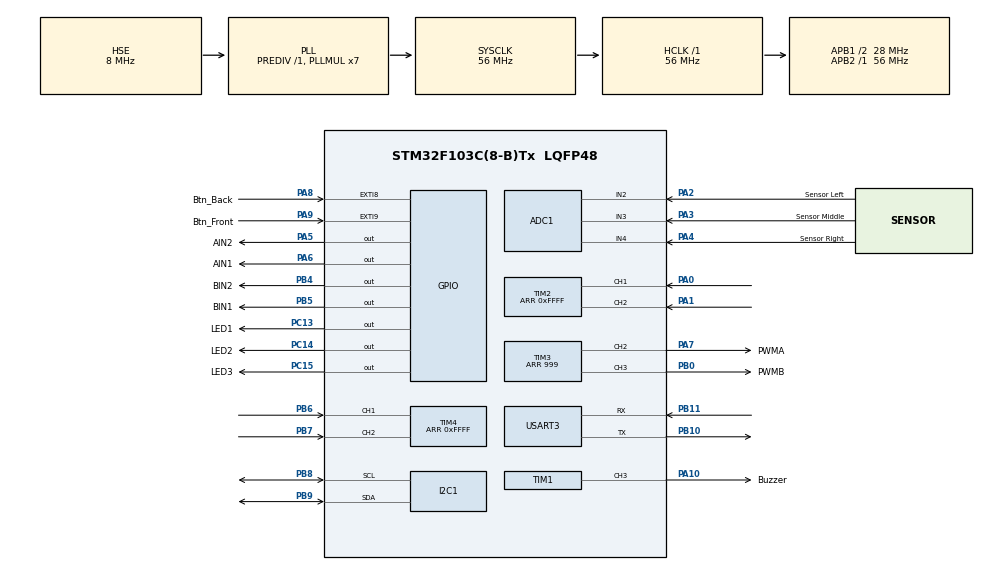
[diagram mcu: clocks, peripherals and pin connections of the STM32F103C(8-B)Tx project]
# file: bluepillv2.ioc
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ADC1.Channel-10\#ChannelRegularConversion=ADC_CHANNEL_3
ADC1.Channel-11\#ChannelRegularConversion=ADC_CHANNEL_4
ADC1.Channel-9\#ChannelRegularConversion=ADC_CHANNEL_2
ADC1.ContinuousConvMode=ENABLE
ADC1.DiscontinuousConvMode=DISABLE
ADC1.InjNumberOfConversion=0
ADC1.NbrOfConversion=3
ADC1.NbrOfConversionFlag=1
ADC1.Rank-10\#ChannelRegularConversion=2
ADC1.Rank-11\#ChannelRegularConversion=3
ADC1.Rank-9\#ChannelRegularConversion=1
ADC1.SamplingTime-10\#ChannelRegularConversion=ADC_SAMPLETIME_239CYCLES_5
ADC1.SamplingTime-11\#ChannelRegularConversion=ADC_SAMPLETIME_239CYCLES_5
ADC1.SamplingTime-9\#ChannelRegularConversion=ADC_SAMPLETIME_239CYCLES_5
ADC1.master=1
Dma.ADC1.0.Direction=DMA_PERIPH_TO_MEMORY
Dma.ADC1.0.Instance=DMA1_Channel1
Dma.ADC1.0.MemDataAlignment=DMA_MDATAALIGN_WORD
Dma.ADC1.0.MemInc=DMA_MINC_ENABLE
Dma.ADC1.0.Mode=DMA_CIRCULAR
Dma.ADC1.0.PeriphDataAlignment=DMA_PDATAALIGN_WORD
Dma.ADC1.0.PeriphInc=DMA_PINC_DISABLE
Dma.ADC1.0.Priority=DMA_PRIORITY_LOW
Dma.Request0=ADC1
Mcu.Family=STM32F1
Mcu.Name=STM32F103C(8-B)Tx
Mcu.Package=LQFP48
NVIC.DMA1_Channel1_IRQn=true\:0\:0\:false\:false\:true\:false
NVIC.EXTI9_5_IRQn=true\:0\:0\:false\:false\:true\:true
NVIC.PriorityGroup=NVIC_PRIORITYGROUP_4
PA0-WKUP.Signal=S_TIM2_CH1_ETR
PA1.Signal=S_TIM2_CH2
PA10.GPIO_Label=Buzzer
PA10.Signal=S_TIM1_CH3
PA13.Mode=Serial_Wire
PA13.Signal=SYS_JTMS-SWDIO
PA14.Mode=Serial_Wire
PA14.Signal=SYS_JTCK-SWCLK
PA2.GPIO_Label=Sensor Left
PA2.Signal=ADCx_IN2
PA3.GPIO_Label=Sensor Middle
PA3.Signal=ADCx_IN3
PA4.GPIO_Label=Sensor Right
PA4.Signal=ADCx_IN4
PA5.GPIO_Label=AIN2
PA5.Signal=GPIO_Output
PA6.GPIO_Label=AIN1
PA6.Signal=GPIO_Output
PA7.GPIO_Label=PWMA
PA7.Signal=S_TIM3_CH2
PA8.GPIO_Label=Btn_Back
PA8.GPIO_ModeDefaultEXTI=GPIO_MODE_IT_RISING
PA8.Signal=GPXTI8
PA9.GPIO_Label=Btn_Front
PA9.GPIO_ModeDefaultEXTI=GPIO_MODE_IT_FALLING
PA9.Signal=GPXTI9
PB0.GPIO_Label=PWMB
PB0.Signal=S_TIM3_CH3
PB10.Mode=Asynchronous
PB10.Signal=USART3_TX
PB11.Mode=Asynchronous
PB11.Signal=USART3_RX
PB4.GPIO_Label=BIN2
PB4.Signal=GPIO_Output
PB5.GPIO_Label=BIN1
PB5.Signal=GPIO_Output
PB6.Signal=S_TIM4_CH1
PB7.Signal=S_TIM4_CH2
PB8.Mode=I2C
PB8.Signal=I2C1_SCL
PB9.Mode=I2C
PB9.Signal=I2C1_SDA
PC13-TAMPER-RTC.GPIO_Label=LED1
PC13-TAMPER-RTC.Signal=GPIO_Output
PC14-OSC32_IN.GPIO_Label=LED2
PC14-OSC32_IN.Signal=GPIO_Output
PC15-OSC32_OUT.GPIO_Label=LED3
PC15-OSC32_OUT.Signal=GPIO_Output
PD0-OSC_IN.Mode=HSE-External-Oscillator
PD0-OSC_IN.Signal=RCC_OSC_IN
PD1-OSC_OUT.Mode=HSE-External-Oscillator
PD1-OSC_OUT.Signal=RCC_OSC_OUT
ProjectManager.HeapSize=0x200
ProjectManager.StackSize=0x400
ProjectManager.TargetToolchain=MDK-ARM V5
RCC.ADCPresc=RCC_ADCPCLK2_DIV4
RCC.AHBFreq_Value=56000000
RCC.APB1CLKDivider=RCC_HCLK_DIV2
RCC.APB1Freq_Value=28000000
RCC.APB1TimFreq_Value=56000000
RCC.APB2Freq_Value=56000000
RCC.APB2TimFreq_Value=56000000
RCC.HCLKFreq_Value=56000000
RCC.PLLMUL=RCC_PLL_MUL7
RCC.PLLSourceVirtual=RCC_PLLSOURCE_HSE
RCC.SYSCLKFreq_VALUE=56000000
RCC.SYSCLKSource=RCC_SYSCLKSOURCE_PLLCLK
RCC.USBFreq_Value=56000000
SH.ADCx_IN2.0=ADC1_IN2,IN2
SH.ADCx_IN3.0=ADC1_IN3,IN3
SH.ADCx_IN4.0=ADC1_IN4,IN4
SH.S_TIM1_CH3.0=TIM1_CH3,PWM Generation3 CH3
SH.S_TIM2_CH1_ETR.0=TIM2_CH1,Encoder_Interface
SH.S_TIM2_CH2.0=TIM2_CH2,Encoder_Interface
SH.S_TIM3_CH2.0=TIM3_CH2,PWM Generation2 CH2
SH.S_TIM3_CH3.0=TIM3_CH3,PWM Generation3 CH3
SH.S_TIM4_CH1.0=TIM4_CH1,Encoder_Interface
SH.S_TIM4_CH2.0=TIM4_CH2,Encoder_Interface
TIM1.Channel-PWM\ Generation3\ CH3=TIM_CHANNEL_3
TIM1.Period=255-1
TIM1.Prescaler=855-1
TIM2.EncoderMode=TIM_ENCODERMODE_TI12
TIM2.Period=0xFFFF
TIM3.Channel-PWM\ Generation2\ CH2=TIM_CHANNEL_2
TIM3.Channel-PWM\ Generation3\ CH3=TIM_CHANNEL_3
TIM3.Period=999
TIM4.EncoderMode=TIM_ENCODERMODE_TI12
TIM4.Period=0xFFFF
USART3.VirtualMode=VM_ASYNC
VP_TIM3_VS_ClockSourceINT.Mode=Internal
board=custom

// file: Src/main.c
/* USER CODE BEGIN Header */
/**
  ******************************************************************************
  * @file           : main.c
  * @brief          : Main program body
  ******************************************************************************
  ** This notice applies to any and all portions of this file
  * that are not between comment pairs USER CODE BEGIN and
  * USER CODE END. Other portions of this file, whether
  * inserted by the user or by software development tools
  * are owned by their respective copyright owners.
  *
  * COPYRIGHT(c) 2019 STMicroelectronics
  *
  * Redistribution and use in source and binary forms, with or without modification,
  * are permitted provided that the following conditions are met:
  *   1. Redistributions of source code must retain the above copyright notice,
  *      this list of conditions and the following disclaimer.
  *   2. Redistributions in binary form must reproduce the above copyright notice,
  *      this list of conditions and the following disclaimer in the documentation
  *      and/or other materials provided with the distribution.
  *   3. Neither the name of STMicroelectronics nor the names of its contributors
  *      may be used to endorse or promote products derived from this software
  *      without specific prior written permission.
  *
  * THIS SOFTWARE IS PROVIDED BY THE COPYRIGHT HOLDERS AND CONTRIBUTORS "AS IS"
  * AND ANY EXPRESS OR IMPLIED WARRANTIES, INCLUDING, BUT NOT LIMITED TO, THE
  * IMPLIED WARRANTIES OF MERCHANTABILITY AND FITNESS FOR A PARTICULAR PURPOSE ARE
  * DISCLAIMED. IN NO EVENT SHALL THE COPYRIGHT HOLDER OR CONTRIBUTORS BE LIABLE
  * FOR ANY DIRECT, INDIRECT, INCIDENTAL, SPECIAL, EXEMPLARY, OR CONSEQUENTIAL
  * DAMAGES (INCLUDING, BUT NOT LIMITED TO, PROCUREMENT OF SUBSTITUTE GOODS OR
  * SERVICES; LOSS OF USE, DATA, OR PROFITS; OR BUSINESS INTERRUPTION) HOWEVER
  * CAUSED AND ON ANY THEORY OF LIABILITY, WHETHER IN CONTRACT, STRICT LIABILITY,
  * OR TORT (INCLUDING NEGLIGENCE OR OTHERWISE) ARISING IN ANY WAY OUT OF THE USE
  * OF THIS SOFTWARE, EVEN IF ADVISED OF THE POSSIBILITY OF SUCH DAMAGE.
  *
  ******************************************************************************
  */
/* USER CODE END Header */

#include "main.h"

/* USER CODE BEGIN Includes */
#include "pwm.h"
#include "motor_control.h"
#include "adc.h"
#include "distance.h"
#include "com.h"

/* USER CODE END Includes */

ADC_HandleTypeDef hadc1;
DMA_HandleTypeDef hdma_adc1;

I2C_HandleTypeDef hi2c1;

TIM_HandleTypeDef htim1;
TIM_HandleTypeDef htim2;
TIM_HandleTypeDef htim3;
TIM_HandleTypeDef htim4;

UART_HandleTypeDef huart3;

/* USER CODE BEGIN PV */
volatile int enableControlLoop = 0;
volatile int start = 0;
volatile int go = 0;
volatile int rot = 0;
int accNeeded;
int moveSpeed;
int turnSpeed;

uint32_t sensorValues[3];

//Uses as a command array for moving in the maze
uint8_t pathToStart[200] = {0};
uint8_t pathToGoal[200] = {0};
uint8_t singleCommand[2]; //Used for search run

uint8_t testCommand[2];

uint8_t fas1;
uint8_t fas2;
uint8_t fas3;

uint8_t restart[2] = "e\n";
uint8_t fas1Str[5] = "fas1\n";
uint8_t fas2Str[5] = "fas2\n";
uint8_t fas3Str[5] = "fas3\n";

uint8_t text[13] = "Hello world!\n";

// Rotating
int rightAngle = -91;
int leftAngle = 88;
int halfAngle = 88 * 2;

/* USER CODE END PV */

void SystemClock_Config(void);
static void MX_GPIO_Init(void);
static void MX_DMA_Init(void);
static void MX_TIM2_Init(void);
static void MX_TIM3_Init(void);
static void MX_TIM4_Init(void);
static void MX_I2C1_Init(void);
static void MX_ADC1_Init(void);
static void MX_TIM1_Init(void);
static void MX_USART3_UART_Init(void);

/* USER CODE BEGIN 0 */

// Used for sending transmitting data via UART via the printf() function.
#ifdef __GNUC__
	#define PUTCHAR_PROTOTYPE int __io_putchar(int ch)
#else
	#define PUTCHAR_PROTOTYPE int fputc(int ch, FILE *f)
#endif
PUTCHAR_PROTOTYPE{
	HAL_UART_Transmit(&huart3, (uint8_t *) &ch, 1, 0xFFFF);
	return ch;
}

/* USER CODE END 0 */

int main(void)
{

  /* MCU Configuration--------------------------------------------------------*/

  /* Reset of all peripherals, Initializes the Flash interface and the Systick. */
  HAL_Init();

  /* Configure the system clock */
  SystemClock_Config();

  /* Initialize all configured peripherals */
  MX_GPIO_Init();
  MX_DMA_Init();
  MX_TIM2_Init();
  MX_TIM3_Init();
  MX_TIM4_Init();
  MX_I2C1_Init();
  MX_ADC1_Init();
  MX_TIM1_Init();
  MX_USART3_UART_Init();
  /* USER CODE BEGIN 2 */

	// Start the DMA to continously read the ADC reading of the sensors.
	HAL_ADC_Start_DMA(&hadc1, (uint32_t*) sensorValues, 3);

	calibrateSensors();
  motorSetup();
	pwmSetup();
	moveSpeed = speedToCounts(300*2);
	turnSpeed = 30;
	enableControlLoop = 1; //Start the control loop imidietly

	while(!start); // Wait for back button press
	HAL_UART_Transmit(&huart3, fas1Str, 5, 100);
	HAL_Delay(100);
	sendWalls(walls);

	fas1 = 1;

  /* USER CODE END 2 */

  /* Infinite loop */
  while (1)
  {

    /* USER CODE BEGIN 3 */
		while(fas1){
			readLine(); //Read blocking until \n, also clears the buffer

			if(dataBufferUART[0] == 's'){
				fas1 = 0;
				fas2 = 1;
			}else{
				//Indicate that we have recieved
				beep(150);
				HAL_Delay(300);
				beep(0);

				//HAL_Delay(700); //Good for debugging, wait 1s before executing the recieved command.

				//Go through 2 commands since it could be 1 or 2
				for(int i = 0; i < 2; i++){
					if(dataBufferUART[i] == 'f')
						move(1);
					else if(dataBufferUART[i] == 'l')
						rotate(leftAngle);
					else if(dataBufferUART[i] == 'r')
						rotate(rightAngle);
					else if(dataBufferUART[i] == 'b')
						rotate(halfAngle);
				}
				wallDet();
				sendWalls(walls); //only send once
			}
		}

		while(fas2){
			readLine(); //Wait for entire pathToStart

			beep(150);
			HAL_Delay(500);
			beep(0);

			int pathSize = 200; //sizeof(path) / sizeof(path[0]);

			for(int i = 0; i < pathSize; i++){
				uint8_t command = dataBufferUART[i];
				int nrOfCommands = 1;

				for(int j = i+1; j < pathSize; j++){
					if(dataBufferUART[j] == command){
						nrOfCommands++;
					}else{
						i = j - 1;
						break;
					}
				}

				if(command == 'f')
					move(nrOfCommands);
				else if(command == 'l')
					rotate(leftAngle * nrOfCommands);
				else if(command == 'r')
					rotate(rightAngle * nrOfCommands);
				else if(command == 'b')
					rotate(halfAngle * nrOfCommands);
			}

			rotate(180);
			beep(150);
			HAL_Delay(500);
			beep(0);

			fas2 = 0;
			fas3 = 1;
		} //while(fas2) ----   Mеl -> Start

		while(fas3){
			//Send "fas3" when the robot has returned home
			HAL_UART_Transmit(&huart3, fas3Str, 5, 100);

			readLine(); //Blocking read until pathToGoal is terminated with \n
			moveSpeed = speedToCounts(600*2);

			while(1){ // Blocking and waiting for front button press

				if(go){
					go = 0;
					HAL_Delay(750);
					int pathSize = 200; //sizeof(path) / sizeof(path[0]);

					for(int i = 0; i < pathSize; i++){
						uint8_t command = dataBufferUART[i];
						int nrOfCommands = 1;

						for(int j = i+1; j < pathSize; j++){
							if(dataBufferUART[j] == command){
								nrOfCommands++;
							}else{
								i = j - 1;
								break;
							}
						}

						if(command == 'f')
							move(nrOfCommands);
						else if(command == 'l')
							rotate(leftAngle * nrOfCommands);
						else if(command == 'r')
							rotate(rightAngle * nrOfCommands);
						else if(command == 'b')
							rotate(halfAngle * nrOfCommands);
					} //for loop
				}// if(go)
			}// whle(1)
		}// while(fas3)

		/*
		if(rot){
			rot = 0;

			//Add movespeed and turnspeed to every press of backbutton
			// The speed won't be seen if the acceleration and distance is too low since
			// it can't even accelerate up to the moveSpeeed or turnSpeed before it has to slow down.
			moveSpeed += speedToCounts(300*2);
			turnSpeed += 30;

			//accW = 10;
		  //decW = 10;

			//accX = 400;
			//decX = 400;
		}
		*/

		/*
		//OLD code for checking battery voltage, not used anymore.
		if(battVoltage < 6.5){
			HAL_GPIO_WritePin(LED3_GPIO_Port, LED3_Pin, GPIO_PIN_SET); //red
			HAL_GPIO_WritePin(LED2_GPIO_Port, LED2_Pin, GPIO_PIN_RESET);//Green
			beep(150);
		}else{
			HAL_GPIO_WritePin(LED3_GPIO_Port, LED3_Pin, GPIO_PIN_RESET); //red
			HAL_GPIO_WritePin(LED2_GPIO_Port, LED2_Pin, GPIO_PIN_SET);//Green
			beep(0);
		}*/
		}
  /* USER CODE END 3 */
}

void SystemClock_Config(void)
{
  RCC_OscInitTypeDef RCC_OscInitStruct = {0};
  RCC_ClkInitTypeDef RCC_ClkInitStruct = {0};
  RCC_PeriphCLKInitTypeDef PeriphClkInit = {0};

  /**Initializes the CPU, AHB and APB busses clocks
  */
  RCC_OscInitStruct.OscillatorType = RCC_OSCILLATORTYPE_HSE;
  RCC_OscInitStruct.HSEState = RCC_HSE_ON;
  RCC_OscInitStruct.HSEPredivValue = RCC_HSE_PREDIV_DIV1;
  RCC_OscInitStruct.HSIState = RCC_HSI_ON;
  RCC_OscInitStruct.PLL.PLLState = RCC_PLL_ON;
  RCC_OscInitStruct.PLL.PLLSource = RCC_PLLSOURCE_HSE;
  RCC_OscInitStruct.PLL.PLLMUL = RCC_PLL_MUL7;
  if (HAL_RCC_OscConfig(&RCC_OscInitStruct) != HAL_OK)
  {
    Error_Handler();
  }
  /**Initializes the CPU, AHB and APB busses clocks
  */
  RCC_ClkInitStruct.ClockType = RCC_CLOCKTYPE_HCLK|RCC_CLOCKTYPE_SYSCLK
                              |RCC_CLOCKTYPE_PCLK1|RCC_CLOCKTYPE_PCLK2;
  RCC_ClkInitStruct.SYSCLKSource = RCC_SYSCLKSOURCE_PLLCLK;
  RCC_ClkInitStruct.AHBCLKDivider = RCC_SYSCLK_DIV1;
  RCC_ClkInitStruct.APB1CLKDivider = RCC_HCLK_DIV2;
  RCC_ClkInitStruct.APB2CLKDivider = RCC_HCLK_DIV1;

  if (HAL_RCC_ClockConfig(&RCC_ClkInitStruct, FLASH_LATENCY_2) != HAL_OK)
  {
    Error_Handler();
  }
  PeriphClkInit.PeriphClockSelection = RCC_PERIPHCLK_ADC;
  PeriphClkInit.AdcClockSelection = RCC_ADCPCLK2_DIV4;
  if (HAL_RCCEx_PeriphCLKConfig(&PeriphClkInit) != HAL_OK)
  {
    Error_Handler();
  }
}

static void MX_ADC1_Init(void)
{

  ADC_ChannelConfTypeDef sConfig = {0};

  /**Common config
  */
  hadc1.Instance = ADC1;
  hadc1.Init.ScanConvMode = ADC_SCAN_ENABLE;
  hadc1.Init.ContinuousConvMode = ENABLE;
  hadc1.Init.DiscontinuousConvMode = DISABLE;
  hadc1.Init.ExternalTrigConv = ADC_SOFTWARE_START;
  hadc1.Init.DataAlign = ADC_DATAALIGN_RIGHT;
  hadc1.Init.NbrOfConversion = 3;
  if (HAL_ADC_Init(&hadc1) != HAL_OK)
  {
    Error_Handler();
  }
  /**Configure Regular Channel
  */
  sConfig.Channel = ADC_CHANNEL_2;
  sConfig.Rank = ADC_REGULAR_RANK_1;
  sConfig.SamplingTime = ADC_SAMPLETIME_239CYCLES_5;
  if (HAL_ADC_ConfigChannel(&hadc1, &sConfig) != HAL_OK)
  {
    Error_Handler();
  }
  /**Configure Regular Channel
  */
  sConfig.Channel = ADC_CHANNEL_3;
  sConfig.Rank = ADC_REGULAR_RANK_2;
  if (HAL_ADC_ConfigChannel(&hadc1, &sConfig) != HAL_OK)
  {
    Error_Handler();
  }
  /**Configure Regular Channel
  */
  sConfig.Channel = ADC_CHANNEL_4;
  sConfig.Rank = ADC_REGULAR_RANK_3;
  if (HAL_ADC_ConfigChannel(&hadc1, &sConfig) != HAL_OK)
  {
    Error_Handler();
  }

}

static void MX_I2C1_Init(void)
{

  hi2c1.Instance = I2C1;
  hi2c1.Init.ClockSpeed = 100000;
  hi2c1.Init.DutyCycle = I2C_DUTYCYCLE_2;
  hi2c1.Init.OwnAddress1 = 0;
  hi2c1.Init.AddressingMode = I2C_ADDRESSINGMODE_7BIT;
  hi2c1.Init.DualAddressMode = I2C_DUALADDRESS_DISABLE;
  hi2c1.Init.OwnAddress2 = 0;
  hi2c1.Init.GeneralCallMode = I2C_GENERALCALL_DISABLE;
  hi2c1.Init.NoStretchMode = I2C_NOSTRETCH_DISABLE;
  if (HAL_I2C_Init(&hi2c1) != HAL_OK)
  {
    Error_Handler();
  }

}

static void MX_TIM1_Init(void)
{

  TIM_MasterConfigTypeDef sMasterConfig = {0};
  TIM_OC_InitTypeDef sConfigOC = {0};
  TIM_BreakDeadTimeConfigTypeDef sBreakDeadTimeConfig = {0};

  htim1.Instance = TIM1;
  htim1.Init.Prescaler = 855-1;
  htim1.Init.CounterMode = TIM_COUNTERMODE_UP;
  htim1.Init.Period = 255-1;
  htim1.Init.ClockDivision = TIM_CLOCKDIVISION_DIV1;
  htim1.Init.RepetitionCounter = 0;
  htim1.Init.AutoReloadPreload = TIM_AUTORELOAD_PRELOAD_DISABLE;
  if (HAL_TIM_PWM_Init(&htim1) != HAL_OK)
  {
    Error_Handler();
  }
  sMasterConfig.MasterOutputTrigger = TIM_TRGO_RESET;
  sMasterConfig.MasterSlaveMode = TIM_MASTERSLAVEMODE_DISABLE;
  if (HAL_TIMEx_MasterConfigSynchronization(&htim1, &sMasterConfig) != HAL_OK)
  {
    Error_Handler();
  }
  sConfigOC.OCMode = TIM_OCMODE_PWM1;
  sConfigOC.Pulse = 0;
  sConfigOC.OCPolarity = TIM_OCPOLARITY_HIGH;
  sConfigOC.OCNPolarity = TIM_OCNPOLARITY_HIGH;
  sConfigOC.OCFastMode = TIM_OCFAST_DISABLE;
  sConfigOC.OCIdleState = TIM_OCIDLESTATE_RESET;
  sConfigOC.OCNIdleState = TIM_OCNIDLESTATE_RESET;
  if (HAL_TIM_PWM_ConfigChannel(&htim1, &sConfigOC, TIM_CHANNEL_3) != HAL_OK)
  {
    Error_Handler();
  }
  sBreakDeadTimeConfig.OffStateRunMode = TIM_OSSR_DISABLE;
  sBreakDeadTimeConfig.OffStateIDLEMode = TIM_OSSI_DISABLE;
  sBreakDeadTimeConfig.LockLevel = TIM_LOCKLEVEL_OFF;
  sBreakDeadTimeConfig.DeadTime = 0;
  sBreakDeadTimeConfig.BreakState = TIM_BREAK_DISABLE;
  sBreakDeadTimeConfig.BreakPolarity = TIM_BREAKPOLARITY_HIGH;
  sBreakDeadTimeConfig.AutomaticOutput = TIM_AUTOMATICOUTPUT_DISABLE;
  if (HAL_TIMEx_ConfigBreakDeadTime(&htim1, &sBreakDeadTimeConfig) != HAL_OK)
  {
    Error_Handler();
  }
  HAL_TIM_MspPostInit(&htim1);

}

static void MX_TIM2_Init(void)
{

  TIM_Encoder_InitTypeDef sConfig = {0};
  TIM_MasterConfigTypeDef sMasterConfig = {0};

  htim2.Instance = TIM2;
  htim2.Init.Prescaler = 0;
  htim2.Init.CounterMode = TIM_COUNTERMODE_UP;
  htim2.Init.Period = 0xFFFF;
  htim2.Init.ClockDivision = TIM_CLOCKDIVISION_DIV1;
  htim2.Init.AutoReloadPreload = TIM_AUTORELOAD_PRELOAD_DISABLE;
  sConfig.EncoderMode = TIM_ENCODERMODE_TI12;
  sConfig.IC1Polarity = TIM_ICPOLARITY_RISING;
  sConfig.IC1Selection = TIM_ICSELECTION_DIRECTTI;
  sConfig.IC1Prescaler = TIM_ICPSC_DIV1;
  sConfig.IC1Filter = 0;
  sConfig.IC2Polarity = TIM_ICPOLARITY_RISING;
  sConfig.IC2Selection = TIM_ICSELECTION_DIRECTTI;
  sConfig.IC2Prescaler = TIM_ICPSC_DIV1;
  sConfig.IC2Filter = 0;
  if (HAL_TIM_Encoder_Init(&htim2, &sConfig) != HAL_OK)
  {
    Error_Handler();
  }
  sMasterConfig.MasterOutputTrigger = TIM_TRGO_RESET;
  sMasterConfig.MasterSlaveMode = TIM_MASTERSLAVEMODE_DISABLE;
  if (HAL_TIMEx_MasterConfigSynchronization(&htim2, &sMasterConfig) != HAL_OK)
  {
    Error_Handler();
  }

}

static void MX_TIM3_Init(void)
{

  TIM_ClockConfigTypeDef sClockSourceConfig = {0};
  TIM_MasterConfigTypeDef sMasterConfig = {0};
  TIM_OC_InitTypeDef sConfigOC = {0};

  htim3.Instance = TIM3;
  htim3.Init.Prescaler = 0;
  htim3.Init.CounterMode = TIM_COUNTERMODE_UP;
  htim3.Init.Period = 999;
  htim3.Init.ClockDivision = TIM_CLOCKDIVISION_DIV1;
  htim3.Init.AutoReloadPreload = TIM_AUTORELOAD_PRELOAD_DISABLE;
  if (HAL_TIM_Base_Init(&htim3) != HAL_OK)
  {
    Error_Handler();
  }
  sClockSourceConfig.ClockSource = TIM_CLOCKSOURCE_INTERNAL;
  if (HAL_TIM_ConfigClockSource(&htim3, &sClockSourceConfig) != HAL_OK)
  {
    Error_Handler();
  }
  if (HAL_TIM_PWM_Init(&htim3) != HAL_OK)
  {
    Error_Handler();
  }
  sMasterConfig.MasterOutputTrigger = TIM_TRGO_RESET;
  sMasterConfig.MasterSlaveMode = TIM_MASTERSLAVEMODE_DISABLE;
  if (HAL_TIMEx_MasterConfigSynchronization(&htim3, &sMasterConfig) != HAL_OK)
  {
    Error_Handler();
  }
  sConfigOC.OCMode = TIM_OCMODE_PWM1;
  sConfigOC.Pulse = 0;
  sConfigOC.OCPolarity = TIM_OCPOLARITY_HIGH;
  sConfigOC.OCFastMode = TIM_OCFAST_DISABLE;
  if (HAL_TIM_PWM_ConfigChannel(&htim3, &sConfigOC, TIM_CHANNEL_2) != HAL_OK)
  {
    Error_Handler();
  }
  if (HAL_TIM_PWM_ConfigChannel(&htim3, &sConfigOC, TIM_CHANNEL_3) != HAL_OK)
  {
    Error_Handler();
  }
  HAL_TIM_MspPostInit(&htim3);

}

static void MX_TIM4_Init(void)
{

  TIM_Encoder_InitTypeDef sConfig = {0};
  TIM_MasterConfigTypeDef sMasterConfig = {0};

  htim4.Instance = TIM4;
  htim4.Init.Prescaler = 0;
  htim4.Init.CounterMode = TIM_COUNTERMODE_UP;
  htim4.Init.Period = 0xFFFF;
  htim4.Init.ClockDivision = TIM_CLOCKDIVISION_DIV1;
  htim4.Init.AutoReloadPreload = TIM_AUTORELOAD_PRELOAD_DISABLE;
  sConfig.EncoderMode = TIM_ENCODERMODE_TI12;
  sConfig.IC1Polarity = TIM_ICPOLARITY_RISING;
  sConfig.IC1Selection = TIM_ICSELECTION_DIRECTTI;
  sConfig.IC1Prescaler = TIM_ICPSC_DIV1;
  sConfig.IC1Filter = 0;
  sConfig.IC2Polarity = TIM_ICPOLARITY_RISING;
  sConfig.IC2Selection = TIM_ICSELECTION_DIRECTTI;
  sConfig.IC2Prescaler = TIM_ICPSC_DIV1;
  sConfig.IC2Filter = 0;
  if (HAL_TIM_Encoder_Init(&htim4, &sConfig) != HAL_OK)
  {
    Error_Handler();
  }
  sMasterConfig.MasterOutputTrigger = TIM_TRGO_RESET;
  sMasterConfig.MasterSlaveMode = TIM_MASTERSLAVEMODE_DISABLE;
  if (HAL_TIMEx_MasterConfigSynchronization(&htim4, &sMasterConfig) != HAL_OK)
  {
    Error_Handler();
  }

}

static void MX_USART3_UART_Init(void)
{

  huart3.Instance = USART3;
  huart3.Init.BaudRate = 115200;
  huart3.Init.WordLength = UART_WORDLENGTH_8B;
  huart3.Init.StopBits = UART_STOPBITS_1;
  huart3.Init.Parity = UART_PARITY_NONE;
  huart3.Init.Mode = UART_MODE_TX_RX;
  huart3.Init.HwFlowCtl = UART_HWCONTROL_NONE;
  huart3.Init.OverSampling = UART_OVERSAMPLING_16;
  if (HAL_UART_Init(&huart3) != HAL_OK)
  {
    Error_Handler();
  }

}

static void MX_DMA_Init(void)
{
  /* DMA controller clock enable */
  __HAL_RCC_DMA1_CLK_ENABLE();

  /* DMA interrupt init */
  /* DMA1_Channel1_IRQn interrupt configuration */
  HAL_NVIC_SetPriority(DMA1_Channel1_IRQn, 0, 0);
  HAL_NVIC_EnableIRQ(DMA1_Channel1_IRQn);

}

static void MX_GPIO_Init(void)
{
  GPIO_InitTypeDef GPIO_InitStruct = {0};

  /* GPIO Ports Clock Enable */
  __HAL_RCC_GPIOC_CLK_ENABLE();
  __HAL_RCC_GPIOD_CLK_ENABLE();
  __HAL_RCC_GPIOA_CLK_ENABLE();
  __HAL_RCC_GPIOB_CLK_ENABLE();

  /*Configure GPIO pin Output Level */
  HAL_GPIO_WritePin(GPIOC, LED1_Pin|LED2_Pin|LED3_Pin, GPIO_PIN_RESET);

  /*Configure GPIO pin Output Level */
  HAL_GPIO_WritePin(GPIOA, AIN2_Pin|AIN1_Pin, GPIO_PIN_RESET);

  /*Configure GPIO pin Output Level */
  HAL_GPIO_WritePin(GPIOB, BIN2_Pin|BIN1_Pin, GPIO_PIN_RESET);

  /*Configure GPIO pins : LED1_Pin LED2_Pin LED3_Pin */
  GPIO_InitStruct.Pin = LED1_Pin|LED2_Pin|LED3_Pin;
  GPIO_InitStruct.Mode = GPIO_MODE_OUTPUT_PP;
  GPIO_InitStruct.Pull = GPIO_NOPULL;
  GPIO_InitStruct.Speed = GPIO_SPEED_FREQ_LOW;
  HAL_GPIO_Init(GPIOC, &GPIO_InitStruct);

  /*Configure GPIO pins : AIN2_Pin AIN1_Pin */
  GPIO_InitStruct.Pin = AIN2_Pin|AIN1_Pin;
  GPIO_InitStruct.Mode = GPIO_MODE_OUTPUT_PP;
  GPIO_InitStruct.Pull = GPIO_NOPULL;
  GPIO_InitStruct.Speed = GPIO_SPEED_FREQ_LOW;
  HAL_GPIO_Init(GPIOA, &GPIO_InitStruct);

  /*Configure GPIO pin : Btn_Back_Pin */
  GPIO_InitStruct.Pin = Btn_Back_Pin;
  GPIO_InitStruct.Mode = GPIO_MODE_IT_RISING;
  GPIO_InitStruct.Pull = GPIO_NOPULL;
  HAL_GPIO_Init(Btn_Back_GPIO_Port, &GPIO_InitStruct);

  /*Configure GPIO pin : Btn_Front_Pin */
  GPIO_InitStruct.Pin = Btn_Front_Pin;
  GPIO_InitStruct.Mode = GPIO_MODE_IT_FALLING;
  GPIO_InitStruct.Pull = GPIO_NOPULL;
  HAL_GPIO_Init(Btn_Front_GPIO_Port, &GPIO_InitStruct);

  /*Configure GPIO pins : BIN2_Pin BIN1_Pin */
  GPIO_InitStruct.Pin = BIN2_Pin|BIN1_Pin;
  GPIO_InitStruct.Mode = GPIO_MODE_OUTPUT_PP;
  GPIO_InitStruct.Pull = GPIO_NOPULL;
  GPIO_InitStruct.Speed = GPIO_SPEED_FREQ_LOW;
  HAL_GPIO_Init(GPIOB, &GPIO_InitStruct);

  /* EXTI interrupt init*/
  HAL_NVIC_SetPriority(EXTI9_5_IRQn, 0, 0);
  HAL_NVIC_EnableIRQ(EXTI9_5_IRQn);

}

/* USER CODE BEGIN 4 */

void move(int nrOfCells){
	disableSensorAdjustment = 0; // Used for disabling sensor adjustment when rotating and standing still. Change name plz
	int totalDistance = nrOfCells * oneCellDistance;
	distanceLeft = totalDistance;
	targetSpeedW = 0; // No curve turns

	do{
		accNeeded = needToDecelerate(distanceLeft, curSpeedX, 0);
		if(accNeeded < decX)
			targetSpeedX = moveSpeed;
		else
			targetSpeedX = 0;
	}
	while( (encoderCount-oldEncoderCount) < (totalDistance) && calcDistances[1] > 4.8);
//|| calcDistances[1] > frontSensorTreshhold
	targetSpeedX = 0;
	disableSensorAdjustment = 1;

	oldEncoderCount = encoderCount;
}
void rotate(int degrees){

	int direction = 1;
	int totalDistance = rotToCounts(degrees);
	rotationLeft = totalDistance;

	if(degrees < 0){
		direction = -1;
	}

	targetSpeedX = 0; // Stand still while doing rotation

	do{
		accNeeded = needToDecelerate(rotationLeft, curSpeedW, 0);
		if(accNeeded < decW)
			targetSpeedW = direction * turnSpeed;
		else
			targetSpeedW = 0;
	}
	while( direction * (rotationCount-oldRotationCount) < direction * totalDistance);
	targetSpeedW = 0;

	oldRotationCount = rotationCount;
	// Perhaps oldRotationCount has to be overwritten in move also.
}

/* USER CODE END 4 */

void Error_Handler(void)
{
}

/************************ (C) COPYRIGHT STMicroelectronics *****END OF FILE****/
